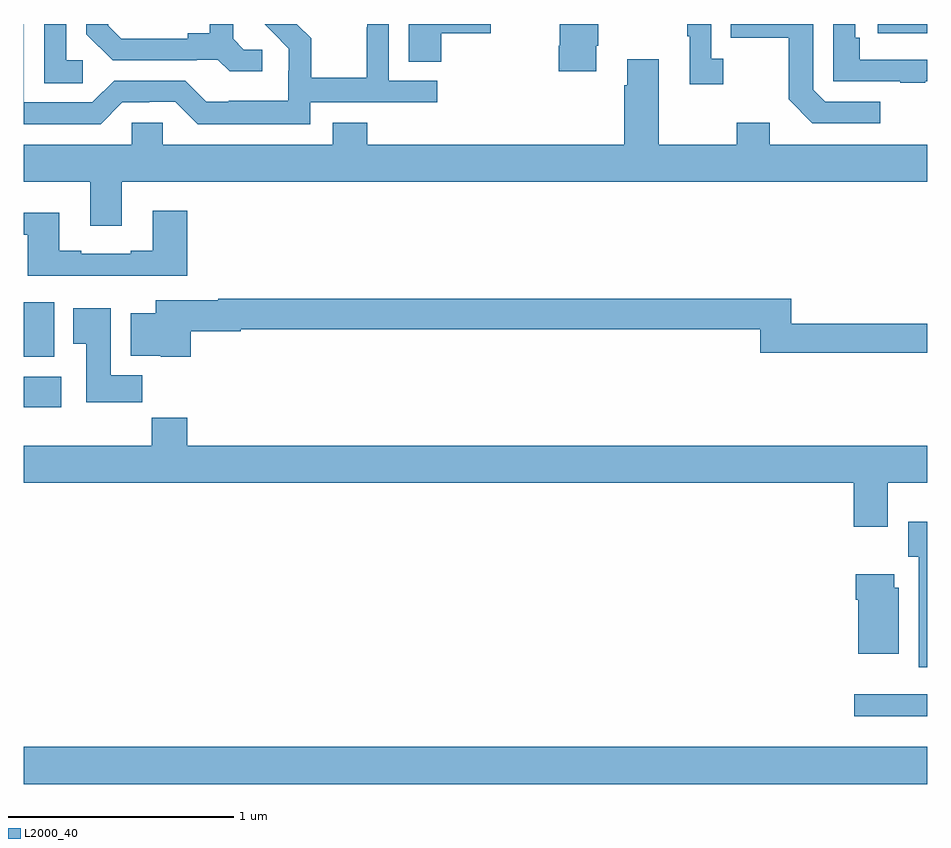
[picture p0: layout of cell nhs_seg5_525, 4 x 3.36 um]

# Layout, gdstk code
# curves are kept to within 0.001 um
import gdstk
lib = gdstk.Library(unit=1e-6, precision=1e-09)
def R(c, l, rs):  # rectangles x0, y0, x1, y1
    for r in rs: c.add(gdstk.rectangle(r[:2], r[2:], *l))
def P(c, l, *ps):  # polygons
    for p in ps: c.add(gdstk.Polygon(p, *l))
L2000_40 = (2000, 40)

nhs_seg5_525 = lib.new_cell('nhs_seg5_525')
R(nhs_seg5_525, L2000_40, [(145,847.436,149,847.6), (148.677,847.736,149,847.833), (145,849.104,145.168,849.238), (145,849.326,145.135,849.568), (148.779,850.758,149,850.799)])
P(nhs_seg5_525, L2000_40, [(146.268,850.452),(146.83,850.452),(146.83,850.548),(146.616,850.548),(146.616,850.799),(146.52,850.799),(146.52,850.784),(146.518,850.784),(146.518,850.561),(146.273,850.561),(146.273,850.735),(146.209,850.799),(146.067,850.799),(146.174,850.69),(146.174,850.593),(146.172,850.593),(146.172,850.459),(145.909,850.459),(145.909,850.455),(145.809,850.455),(145.716,850.548),(145.401,850.548),(145.305,850.452),(145.002,850.452),(145.002,850.799),(145,850.799),(145,850.356),(145.341,850.356),(145.437,850.452),(145.556,850.452),(145.556,850.455),(145.671,850.455),(145.771,850.355),(146.268,850.355)],
  [(148.096,850.646),(148.044,850.646),(148.044,850.799),(147.936,850.799),(147.936,850.745),(147.947,850.745),(147.947,850.533),(148.096,850.533)],
  [(145.261,850.638),(145.188,850.638),(145.188,850.799),(145.092,850.799),(145.092,850.537),(145.261,850.537)],
  [(148.792,850.455),(148.548,850.455),(148.494,850.509),(148.494,850.799),(148.129,850.799),(148.129,850.738),(148.386,850.738),(148.386,850.465),(148.491,850.359),(148.792,850.359)],
  [(147.535,850.702),(147.543,850.702),(147.543,850.799),(147.373,850.799),(147.373,850.702),(147.368,850.702),(147.368,850.59),(147.535,850.59)],
  [(146.056,850.686),(145.974,850.686),(145.927,850.733),(145.927,850.799),(145.823,850.799),(145.823,850.757),(145.727,850.757),(145.727,850.734),(145.432,850.734),(145.375,850.791),(145.375,850.799),(145.278,850.799),(145.278,850.754),(145.394,850.638),(145.766,850.638),(145.766,850.641),(145.86,850.641),(145.912,850.589),(146.056,850.589)],
  [(146.849,850.757),(147.067,850.757),(147.067,850.799),(146.705,850.799),(146.705,850.633),(146.849,850.633)],
  [(148.991,850.545),(149,850.545),(149,850.641),(148.7,850.641),(148.7,850.738),(148.68,850.738),(148.68,850.799),(148.584,850.799),(148.584,850.545),(148.879,850.545),(148.879,850.54),(148.991,850.54)],
  [(149,850.264),(148.303,850.264),(148.303,850.363),(148.156,850.363),(148.156,850.264),(147.811,850.264),(147.811,850.642),(147.671,850.642),(147.671,850.529),(147.659,850.529),(147.659,850.264),(146.522,850.264),(146.522,850.363),(146.369,850.363),(146.369,850.264),(145.617,850.264),(145.617,850.362),(145.479,850.362),(145.479,850.264),(145,850.264),(145,850.1),(145.295,850.1),(145.295,849.906),(145.435,849.906),(145.435,850.1),(149,850.1)],
  [(145.724,849.973),(145.571,849.973),(145.571,849.796),(145.475,849.796),(145.475,849.783),(145.255,849.783),(145.255,849.796),(145.159,849.796),(145.159,849.964),(145,849.964),(145,849.867),(145.019,849.867),(145.019,849.686),(145.724,849.686)],
  [(145.739,849.44),(145.962,849.44),(145.962,849.448),(148.261,849.448),(148.261,849.345),(149,849.345),(149,849.473),(148.397,849.473),(148.397,849.584),(145.862,849.584),(145.862,849.577),(145.586,849.577),(145.586,849.52),(145.475,849.52),(145.475,849.332),(145.608,849.332),(145.608,849.326),(145.739,849.326)],
  [(145.526,849.244),(145.387,849.244),(145.387,849.541),(145.22,849.541),(145.22,849.385),(145.277,849.385),(145.277,849.126),(145.526,849.126)],
  [(148.825,848.768),(149,848.768),(149,848.932),(145.724,848.932),(145.724,849.056),(145.567,849.056),(145.567,848.932),(145,848.932),(145,848.768),(148.673,848.768),(148.673,848.574),(148.825,848.574)],
  [(149,848.596),(148.916,848.596),(148.916,848.442),(148.961,848.442),(148.961,847.953),(149,847.953)],
  [(148.873,848.304),(148.852,848.304),(148.852,848.365),(148.682,848.365),(148.682,848.252),(148.694,848.252),(148.694,848.012),(148.873,848.012)])

lib.write_gds('nhs_seg5_525.gds')
